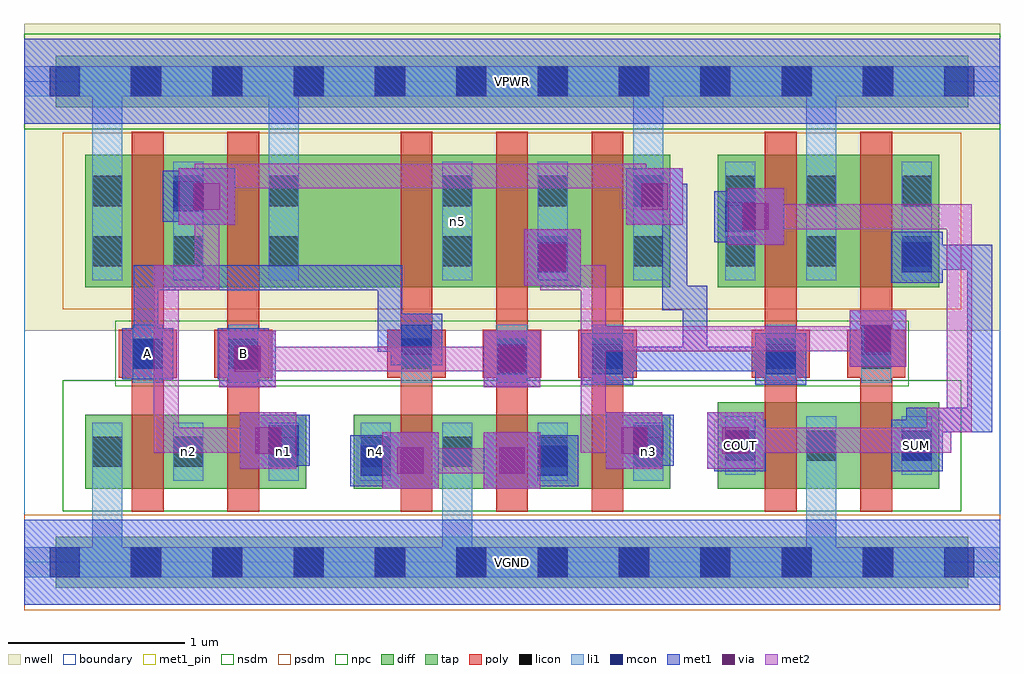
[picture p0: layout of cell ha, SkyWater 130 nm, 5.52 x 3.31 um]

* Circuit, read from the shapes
.subckt ha A B COUT SUM VGND VPWR n1 n2 n3 n4 n5
XM1 n2 A VGND VGND sky130_fd_pr__nfet_01v8 w=0.42 l=0.18
XM2 n1 B n2 VGND sky130_fd_pr__nfet_01v8 w=0.42 l=0.18
XM3 VGND A n4 VGND sky130_fd_pr__nfet_01v8 w=0.42 l=0.18
XM4 n4 B VGND VGND sky130_fd_pr__nfet_01v8 w=0.42 l=0.18
XM5 n3 n1 n4 VGND sky130_fd_pr__nfet_01v8 w=0.42 l=0.18
XM6 VGND n1 COUT VGND sky130_fd_pr__nfet_01v8 w=0.49 l=0.18
XM7 SUM n3 VGND VGND sky130_fd_pr__nfet_01v8 w=0.49 l=0.18
XM8 n1 A VPWR VPWR sky130_fd_pr__pfet_01v8 w=0.75 l=0.18
XM9 VPWR B n1 VPWR sky130_fd_pr__pfet_01v8 w=0.75 l=0.18
XM10 n5 A VPWR VPWR sky130_fd_pr__pfet_01v8 w=0.75 l=0.18
XM11 n3 B n5 VPWR sky130_fd_pr__pfet_01v8 w=0.75 l=0.18
XM12 VPWR n1 n3 VPWR sky130_fd_pr__pfet_01v8 w=0.75 l=0.18
XM13 VPWR n1 COUT VPWR sky130_fd_pr__pfet_01v8 w=0.75 l=0.18
XM14 SUM n3 VPWR VPWR sky130_fd_pr__pfet_01v8 w=0.75 l=0.18
.ends

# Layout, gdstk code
import gdstk
lib = gdstk.Library(unit=1e-6, precision=1e-09)
def R(c, l, rs):  # rectangles x0, y0, x1, y1
    for r in rs: c.add(gdstk.rectangle(r[:2], r[2:], *l))
def A(c, l, x, y, w, h, nx, ny, dx, dy):  # array of equal rectangles
    R(c, l, [(x+i*dx, y+j*dy, x+i*dx+w, y+j*dy+h) for i in range(nx) for j in range(ny)])
nwell = (64, 20)
diff = (65, 20)
tap = (65, 44)
poly = (66, 20)
licon = (66, 44)
li1 = (67, 20)
mcon = (67, 44)
met1_pin = (68, 16)
met1 = (68, 20)
via = (68, 44)
met2 = (69, 20)
nsdm = (93, 44)
psdm = (94, 20)
npc = (95, 20)
boundary = (235, 4)

c_ha = lib.new_cell('ha')
R(c_ha, nwell, [(0,1.31,5.52,3.045)])
R(c_ha, diff, [(0.345,0.415,1.595,0.835), (1.865,0.415,3.655,0.835), (3.925,0.415,5.175,0.905), (0.345,1.555,3.655,2.305), (3.925,1.555,5.175,2.305)])
R(c_ha, tap, [(0.18,-0.145,5.34,0.145), (0.18,2.575,5.34,2.865)])
A(c_ha, poly, 2.13, 0.285, 0.18, 2.15, 3, 1, 0.54, 0)
A(c_ha, poly, 2.055, 1.045, 0.33, 0.27, 3, 1, 0.54, 0)
R(c_ha, poly, [(0.61,0.285,0.79,2.435), (1.15,0.285,1.33,2.435), (4.19,0.285,4.37,2.435), (4.73,0.285,4.91,2.435), (0.535,1.045,0.865,1.315), (1.075,1.045,1.405,1.315), (4.115,1.045,4.445,1.315), (4.655,1.045,4.985,1.315)])
A(c_ha, licon, 0.605, -0.085, 0.17, 0.17, 10, 2, 0.46, 2.72)
A(c_ha, licon, 2.365, 0.54, 0.17, 0.17, 3, 2, 0.54, 1.135)
A(c_ha, licon, 2.135, 1.095, 0.17, 0.17, 3, 1, 0.54, 0)
A(c_ha, licon, 2.365, 2.015, 0.17, 0.17, 3, 1, 0.54, 0)
R(c_ha, licon, [(0.385,0.54,0.555,0.71), (0.845,0.54,1.015,0.71), (1.385,0.54,1.555,0.71), (1.905,0.54,2.075,0.71), (3.965,0.575,4.135,0.745), (4.425,0.575,4.595,0.745), (4.965,0.575,5.135,0.745), (0.615,1.095,0.785,1.265), (1.155,1.095,1.325,1.265), (4.195,1.095,4.365,1.265), (4.735,1.095,4.905,1.265), (0.385,1.675,0.555,1.845), (0.845,1.675,1.015,1.845), (1.385,1.675,1.555,1.845), (3.965,1.675,4.135,1.845), (4.425,1.675,4.595,1.845), (4.965,1.675,5.135,1.845), (0.385,2.015,0.555,2.185), (0.845,2.015,1.015,2.185), (1.385,2.015,1.555,2.185), (3.965,2.015,4.135,2.185), (4.425,2.015,4.595,2.185), (4.965,2.015,5.135,2.185)])
A(c_ha, li1, 2.365, 0.46, 0.17, 0.33, 3, 1, 0.54, 0)
A(c_ha, li1, 2.135, 1.015, 0.17, 0.33, 3, 1, 0.54, 0)
A(c_ha, li1, 2.365, 1.595, 0.17, 0.67, 3, 1, 0.54, 0)
R(c_ha, li1, [(0,-0.085,5.52,0.085), (0.385,-0.085,0.555,0.79), (2.365,-0.085,2.535,0.79), (4.425,-0.085,4.595,0.825), (0.385,0.46,0.555,0.79), (0.845,0.46,1.015,0.79), (1.385,0.46,1.555,0.79), (1.905,0.46,2.075,0.79), (3.965,0.495,4.135,0.825), (4.425,0.495,4.595,0.825), (4.965,0.495,5.135,0.825), (0.615,1.015,0.785,1.345), (1.155,1.015,1.325,1.345), (4.195,1.015,4.365,1.345), (4.735,1.015,4.905,1.345), (0.385,1.595,0.555,2.265), (0.385,1.595,0.555,2.805), (0.845,1.595,1.015,2.265), (1.385,1.595,1.555,2.265), (1.385,1.595,1.555,2.805), (3.445,1.595,3.615,2.805), (3.965,1.595,4.135,2.265), (4.425,1.595,4.595,2.265), (4.425,1.595,4.595,2.805), (4.965,1.595,5.135,2.265), (0,2.635,5.52,2.805)])
A(c_ha, mcon, 0.145, -0.085, 0.17, 0.17, 12, 2, 0.46, 2.72)
R(c_ha, mcon, [(1.905,0.49,2.075,0.66), (2.905,0.49,3.075,0.66), (3.965,0.575,4.135,0.745), (4.965,0.575,5.135,0.745), (1.385,0.605,1.555,0.775), (3.445,0.605,3.615,0.775), (2.675,1.065,2.845,1.235), (3.215,1.065,3.385,1.235), (4.195,1.065,4.365,1.235), (0.615,1.095,0.785,1.265), (1.155,1.095,1.325,1.265), (2.135,1.175,2.305,1.345), (4.735,1.175,4.905,1.345), (2.905,1.64,3.075,1.81), (4.965,1.64,5.135,1.81), (3.965,1.87,4.135,2.04), (0.845,1.985,1.015,2.155)])
R(c_ha, met1_pin, [(0,-0.24,5.52,0.24), (3.905,0.515,4.195,0.805), (4.905,0.515,5.195,0.805), (0.555,1.035,0.845,1.325), (1.095,1.035,1.385,1.325), (0,2.48,5.52,2.96)])
R(c_ha, met1, [(0,-0.24,5.52,0.24), (2.025,0.415,2.345,0.735), (2.6,0.415,2.92,0.735), (1.845,0.43,2.135,0.72), (2.845,0.43,3.135,0.72), (1.92,0.505,2.255,0.645), (2.69,0.505,3.06,0.645), (3.905,0.515,4.195,0.805), (4.905,0.515,5.195,0.805), (1.22,0.53,1.54,0.85), (3.29,0.53,3.61,0.85), (3.865,0.53,4.185,0.85), (1.325,0.545,1.615,0.835), (3.385,0.545,3.675,0.835), (1.31,0.62,1.54,0.76), (3.38,0.62,3.6,0.76), (3.955,0.62,4.095,0.76), (4.99,0.62,5.13,0.76), (4.99,0.62,5.13,0.875), (4.99,0.735,5.475,0.875), (5.335,0.735,5.475,1.795), (1.105,0.99,1.425,1.31), (2.6,0.99,2.92,1.31), (2.615,1.005,2.905,1.295), (3.155,1.005,3.445,1.295), (4.135,1.005,4.425,1.295), (0.555,1.035,0.845,1.325), (1.095,1.035,1.385,1.325), (0.62,1.08,0.76,1.22), (0.62,1.08,0.76,1.68), (1.195,1.08,1.335,1.22), (3.23,1.08,3.52,1.22), (3.38,1.08,4.21,1.22), (3.725,1.08,3.865,1.565), (4.07,1.08,4.35,1.22), (4.67,1.105,4.99,1.425), (2.075,1.115,2.365,1.405), (4.675,1.115,4.965,1.405), (2,1.19,2.29,1.33), (2,1.19,2.14,1.45), (4.75,1.19,4.9,1.33), (4.76,1.19,4.9,1.335), (2,1.31,2.14,1.68), (3.61,1.425,3.865,1.565), (3.61,1.425,3.75,2.14), (0.62,1.54,2.14,1.68), (2.83,1.565,3.15,1.885), (2.845,1.58,3.135,1.87), (4.905,1.58,5.195,1.87), (4.98,1.655,5.245,1.795), (5.105,1.655,5.475,1.795), (3.98,1.795,4.3,2.115), (3.905,1.81,4.195,2.1), (3.98,1.885,4.21,2.025), (0.875,1.91,1.195,2.23), (3.405,1.91,3.725,2.23), (0.785,1.925,1.075,2.215), (0.86,2,1.105,2.14), (3.495,2,3.75,2.14), (0,2.48,5.52,2.96)])
R(c_ha, via, [(2.11,0.5,2.26,0.65), (2.685,0.5,2.835,0.65), (1.305,0.615,1.455,0.765), (3.375,0.615,3.525,0.765), (3.95,0.615,4.1,0.765), (1.19,1.075,1.34,1.225), (2.685,1.075,2.835,1.225), (4.755,1.19,4.905,1.34), (2.915,1.65,3.065,1.8), (4.065,1.88,4.215,2.03), (0.96,1.995,1.11,2.145), (3.49,1.995,3.64,2.145)])
R(c_ha, met2, [(2.025,0.415,2.345,0.735), (2.6,0.415,2.92,0.735), (2.115,0.505,2.83,0.645), (1.22,0.53,1.54,0.85), (3.29,0.53,3.61,0.85), (3.865,0.53,4.185,0.85), (0.735,0.62,0.875,1.68), (0.735,0.62,1.45,0.76), (3.15,0.62,3.52,0.76), (3.15,0.62,3.29,1.68), (3.955,0.62,5.245,0.76), (5.105,0.62,5.245,0.875), (5.105,0.735,5.36,0.875), (5.22,0.735,5.36,2.025), (1.105,0.99,1.425,1.31), (2.6,0.99,2.92,1.31), (1.195,1.08,2.83,1.22), (4.67,1.105,4.99,1.425), (3.15,1.195,4.9,1.335), (0.735,1.54,1.105,1.68), (0.965,1.54,1.105,2.14), (2.92,1.54,3.06,1.795), (2.92,1.54,3.29,1.68), (2.83,1.565,3.15,1.885), (3.98,1.795,4.3,2.115), (4.07,1.885,5.36,2.025), (0.875,1.91,1.195,2.23), (3.405,1.91,3.725,2.23), (0.965,2,1.105,2.255), (3.38,2,3.52,2.255), (3.38,2,3.635,2.14), (0.965,2.115,3.52,2.255)])
R(c_ha, nsdm, [(0.22,0.29,5.3,1.03), (0,2.45,5.52,2.99)])
R(c_ha, psdm, [(0,-0.27,5.52,0.27), (0.22,1.43,5.3,2.43)])
R(c_ha, npc, [(0.515,0.995,5.005,1.365)])
R(c_ha, boundary, [(0,0,5.52,2.72)])
c_ha.add(gdstk.Label('n2', (0.93,0.625), layer=67, texttype=5))
c_ha.add(gdstk.Label('n1', (1.47,0.625), layer=67, texttype=5))
c_ha.add(gdstk.Label('n4', (1.99,0.625), layer=67, texttype=5))
c_ha.add(gdstk.Label('n3', (3.53,0.625), layer=67, texttype=5))
c_ha.add(gdstk.Label('n5', (2.45,1.93), layer=67, texttype=5))
c_ha.add(gdstk.Label('A', (0.7,1.18), layer=68, texttype=5))
c_ha.add(gdstk.Label('B', (1.24,1.18), layer=68, texttype=5))
c_ha.add(gdstk.Label('COUT', (4.05,0.66), layer=68, texttype=5))
c_ha.add(gdstk.Label('SUM', (5.05,0.66), layer=68, texttype=5))
c_ha.add(gdstk.Label('VPWR', (2.76,2.72), layer=68, texttype=5))
c_ha.add(gdstk.Label('VGND', (2.76,0), layer=68, texttype=5))
c_ha.add(gdstk.Label('A', (0.7,1.18), layer=68, texttype=16))
c_ha.add(gdstk.Label('B', (1.24,1.18), layer=68, texttype=16))
c_ha.add(gdstk.Label('COUT', (4.05,0.66), layer=68, texttype=16))
c_ha.add(gdstk.Label('SUM', (5.05,0.66), layer=68, texttype=16))
c_ha.add(gdstk.Label('VPWR', (2.76,2.72), layer=68, texttype=16))
c_ha.add(gdstk.Label('VGND', (2.76,0), layer=68, texttype=16))

lib.write_gds('ha.gds')
